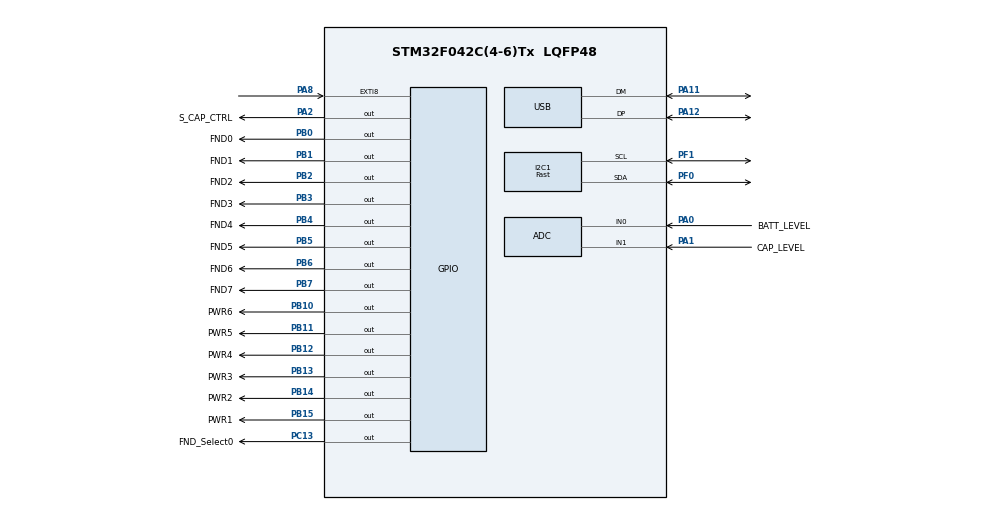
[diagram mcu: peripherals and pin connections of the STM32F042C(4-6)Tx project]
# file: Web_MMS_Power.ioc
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Dma.ADC.0.Direction=DMA_PERIPH_TO_MEMORY
Dma.ADC.0.Instance=DMA1_Channel1
Dma.ADC.0.MemDataAlignment=DMA_MDATAALIGN_HALFWORD
Dma.ADC.0.MemInc=DMA_MINC_ENABLE
Dma.ADC.0.Mode=DMA_CIRCULAR
Dma.ADC.0.PeriphDataAlignment=DMA_PDATAALIGN_HALFWORD
Dma.ADC.0.PeriphInc=DMA_PINC_DISABLE
Dma.ADC.0.Priority=DMA_PRIORITY_LOW
Dma.Request0=ADC
I2C1.I2C_Speed_Mode=I2C_Fast
I2C1.Timing=0x0000020B
Mcu.Family=STM32F0
Mcu.Name=STM32F042C(4-6)Tx
Mcu.Package=LQFP48
NVIC.ADC1_IRQn=true\:0\:0\:false\:false\:true\:true\:true
NVIC.DMA1_Channel1_IRQn=true\:0\:0\:false\:false\:true\:false\:true
NVIC.EXTI4_15_IRQn=true\:0\:0\:false\:false\:true\:true\:true
NVIC.I2C1_IRQn=true\:0\:0\:false\:false\:true\:true\:true
NVIC.TIM1_BRK_UP_TRG_COM_IRQn=true\:0\:0\:false\:false\:true\:true\:true
NVIC.USB_IRQn=true\:0\:0\:false\:false\:true\:true\:true
PA0.GPIO_Label=BATT_LEVEL
PA0.Mode=IN0
PA0.Signal=ADC_IN0
PA1.GPIO_Label=CAP_LEVEL
PA1.Mode=IN1
PA1.Signal=ADC_IN1
PA11.Mode=Device
PA11.Signal=USB_DM
PA12.Mode=Device
PA12.Signal=USB_DP
PA2.GPIO_Label=S_CAP_CTRL
PA2.Signal=GPIO_Output
PA8.GPIO_ModeDefaultEXTI=GPIO_MODE_IT_RISING_FALLING
PA8.Signal=GPXTI8
PB0.GPIO_Label=FND0
PB0.Signal=GPIO_Output
PB1.GPIO_Label=FND1
PB1.Signal=GPIO_Output
PB10.GPIO_Label=PWR6
PB10.GPIO_ModeDefaultOutputPP=GPIO_MODE_OUTPUT_OD
PB10.GPIO_PuPd=GPIO_PULLUP
PB10.GPIO_Speed=GPIO_SPEED_FREQ_LOW
PB10.PinState=GPIO_PIN_SET
PB10.Signal=GPIO_Output
PB11.GPIO_Label=PWR5
PB11.GPIO_ModeDefaultOutputPP=GPIO_MODE_OUTPUT_OD
PB11.GPIO_PuPd=GPIO_PULLUP
PB11.GPIO_Speed=GPIO_SPEED_FREQ_LOW
PB11.PinState=GPIO_PIN_SET
PB11.Signal=GPIO_Output
PB12.GPIO_Label=PWR4
PB12.GPIO_ModeDefaultOutputPP=GPIO_MODE_OUTPUT_OD
PB12.GPIO_PuPd=GPIO_PULLUP
PB12.GPIO_Speed=GPIO_SPEED_FREQ_LOW
PB12.PinState=GPIO_PIN_SET
PB12.Signal=GPIO_Output
PB13.GPIO_Label=PWR3
PB13.GPIO_ModeDefaultOutputPP=GPIO_MODE_OUTPUT_OD
PB13.GPIO_PuPd=GPIO_PULLUP
PB13.GPIO_Speed=GPIO_SPEED_FREQ_LOW
PB13.PinState=GPIO_PIN_SET
PB13.Signal=GPIO_Output
PB14.GPIO_Label=PWR2
PB14.GPIO_ModeDefaultOutputPP=GPIO_MODE_OUTPUT_OD
PB14.GPIO_PuPd=GPIO_PULLUP
PB14.GPIO_Speed=GPIO_SPEED_FREQ_LOW
PB14.PinState=GPIO_PIN_SET
PB14.Signal=GPIO_Output
PB15.GPIO_Label=PWR1
PB15.GPIO_ModeDefaultOutputPP=GPIO_MODE_OUTPUT_OD
PB15.GPIO_PuPd=GPIO_PULLUP
PB15.GPIO_Speed=GPIO_SPEED_FREQ_LOW
PB15.PinState=GPIO_PIN_SET
PB15.Signal=GPIO_Output
PB2.GPIO_Label=FND2
PB2.Signal=GPIO_Output
PB3.GPIO_Label=FND3
PB3.Signal=GPIO_Output
PB4.GPIO_Label=FND4
PB4.Signal=GPIO_Output
PB5.GPIO_Label=FND5
PB5.Signal=GPIO_Output
PB6.GPIO_Label=FND6
PB6.Signal=GPIO_Output
PB7.GPIO_Label=FND7
PB7.Signal=GPIO_Output
PC13.GPIO_Label=FND_Select0
PC13.Signal=GPIO_Output
PC14OSC32_IN.GPIO_Label=FND_Select1
PC14OSC32_IN.Signal=GPIO_Output
PC15OSC32_OUT.GPIO_Label=FND_Select2
PC15OSC32_OUT.Signal=GPIO_Output
PF0-OSC_IN.Mode=I2C
PF0-OSC_IN.Signal=I2C1_SDA
PF1-OSC_OUT.Mode=I2C
PF1-OSC_OUT.Signal=I2C1_SCL
ProjectManager.HeapSize=0x100
ProjectManager.StackSize=0x200
ProjectManager.TargetToolchain=STM32CubeIDE
RCC.AHBFreq_Value=48000000
RCC.APB1Freq_Value=48000000
RCC.APB1TimFreq_Value=48000000
RCC.HCLKFreq_Value=48000000
RCC.SYSCLKFreq_VALUE=48000000
RCC.SYSCLKSource=RCC_SYSCLKSOURCE_HSI48
TIM1.Period=600
TIM1.Prescaler=79
USB_DEVICE.APP_RX_DATA_SIZE=200
USB_DEVICE.APP_TX_DATA_SIZE=200
USB_DEVICE.CLASS_NAME_FS=CDC
USB_DEVICE.MANUFACTURER_STRING=Stryx.Inc
USB_DEVICE.PRODUCT_STRING_CDC_FS=WebMMS_Power
USB_DEVICE.USBD_SELF_POWERED=1
USB_DEVICE.VirtualMode=Cdc
USB_DEVICE.VirtualModeFS=Cdc_FS
VP_TIM1_VS_ClockSourceINT.Mode=Internal
VP_USB_DEVICE_VS_USB_DEVICE_CDC_FS.Mode=CDC_FS
board=custom

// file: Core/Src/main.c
/* USER CODE BEGIN Header */
/**
 ******************************************************************************
 * @file           : main.c
 * @brief          : Main program body
 ******************************************************************************
 * @attention
 *
 * <h2><center>&copy; Copyright (c) 2020 STMicroelectronics.
 * All rights reserved.</center></h2>
 *
 * This software component is licensed by ST under BSD 3-Clause license,
 * the "License"; You may not use this file except in compliance with the
 * License. You may obtain a copy of the License at:
 *                        opensource.org/licenses/BSD-3-Clause
 *
 ******************************************************************************
 */
/* USER CODE END Header */
#include "main.h"
#include "usb_device.h"

/* USER CODE BEGIN Includes */
#include <stdbool.h>
#include <string.h>
#include <stdlib.h>
#include <stdio.h>
#include "fonts.h"
#include "ssd1306.h"
/* USER CODE END Includes */

/* USER CODE BEGIN PD */
#define bMAX_VOLTAGE 14.9f
#define cMAX_VOLTAGE 9.9f
#define MAX_ADC_VAL 4096.0f
/* USER CODE END PD */

ADC_HandleTypeDef hadc;
DMA_HandleTypeDef hdma_adc;

I2C_HandleTypeDef hi2c1;

TIM_HandleTypeDef htim1;

/* USER CODE BEGIN PV */

extern USBD_HandleTypeDef hUsbDeviceFS;
extern PCD_HandleTypeDef hpcd_USB_FS;
const uint8_t SegmentArrInfo[] = { 0x3F,	//0
		0x06,	//1
		0x5B,	//2
		0x4F,	//3
		0x66,	//4
		0x6D,	//5
		0x7D,	//6
		0x07,	//7
		0x7F,	//8
		0x6F,	//9
		0x77,	//A
		0x7C,	//B
		0x39,	//C
		0x5E,	//D
		0x79,	//E
		0x71	//F
		};
uint8_t SegVar[3];
uint8_t PwrSFlag = 0;
bool q = 0, w = 0, e = 0, r = 0, t = 0, y = 0;
float _bresult;
float _cresult;
char bdata[20];
char cdata[20];
uint16_t adcValue[2];

uint8_t _Inited = 0;
uint8_t usbInitFlag = 0;

/* USER CODE END PV */

void SystemClock_Config(void);
static void MX_GPIO_Init(void);
static void MX_DMA_Init(void);
static void MX_ADC_Init(void);
static void MX_TIM1_Init(void);
static void MX_I2C1_Init(void);
/* USER CODE BEGIN PFP */

void HAL_TIM_PeriodElapsedCallback(TIM_HandleTypeDef *htim) {
	static uint16_t now = 13;
	if (htim->Instance == TIM1) {
		HAL_GPIO_WritePin(GPIOC, (1 << now), SET);
		now++;
		if (now >= 16) {
			now = 13;
		}
		HAL_GPIO_WritePin(GPIOB, 0x00FF, RESET);
		HAL_GPIO_WritePin(GPIOB, SegVar[now - 13], SET);
		HAL_GPIO_WritePin(GPIOC, (1 << now), RESET);
	}
}

void setSegVal(uint16_t val, uint8_t ptDigit) {
	SegVar[0] = SegmentArrInfo[val / 100]; // 100
	SegVar[1] = SegmentArrInfo[((val % 100)) / 10]; // 10
	SegVar[2] = SegmentArrInfo[val % 10]; // 1

	for (uint8_t i = 0; i < 3; i++) {
		if (ptDigit & (1 << i)) {
			SegVar[i] |= 0x80;
		}
	}
}

void ADC_PRINT(uint16_t i) {

	HAL_ADC_Start_DMA(&hadc, adcValue, 2); // ADC1 3????????
	for (int i = 0; i < 2; i++) { // ADC 3???? ??????????????? DMA??? ?????????
		HAL_DMA_PollForTransfer(&hdma_adc, HAL_DMA_FULL_TRANSFER, 1000); // ?????? ??? ????????????
	}
	HAL_ADC_Stop_DMA(&hadc); // ????? ???

	/*
	 //Read ADC Data 1 byte
	 LL_ADC_REG_StartConversion(ADC1);
	 while (!LL_ADC_IsActiveFlag_EOS(ADC1))
	 ;
	 i = LL_ADC_REG_ReadConversionData12(ADC1);
	 */

	/*
	 LL_DMA_SetDataLength(DMA1, LL_DMA_CHANNEL_1,12);
	 LL_DMA_SetPeriphAddress(DMA1,LL_DMA_CHANNEL_1,(uint32_t)(&ADC1->DR));
	 LL_DMA_SetMemoryAddress(DMA1,LL_DMA_CHANNEL_1,(uint32_t)adcValue[2]);
	 LL_DMA_EnableIT_TC(DMA1,LL_DMA_CHANNEL_1);
	 LL_DMA_EnableChannel(DMA1, LL_DMA_CHANNEL_1);

	 LL_ADC_REG_SetDMATransfer(ADC1, LL_ADC_REG_DMA_TRANSFER_UNLIMITED);
	 */

	_bresult = ((bMAX_VOLTAGE) / (MAX_ADC_VAL)) * ((float) adcValue[0]);
	_cresult = ((cMAX_VOLTAGE) / (MAX_ADC_VAL)) * ((float) adcValue[1]);
	if (_cresult >= 5.3) {
		HAL_GPIO_WritePin(S_CAP_CTRL_GPIO_Port, S_CAP_CTRL_Pin, SET);
	} else {
		HAL_GPIO_WritePin(S_CAP_CTRL_GPIO_Port, S_CAP_CTRL_Pin, RESET);
	}
	setSegVal((uint16_t) (_cresult * 100.0), 1 << 0);
	HAL_Delay(1);
	i++;
}
/* USER CODE END PFP */

int main(void)
{

  /* MCU Configuration--------------------------------------------------------*/

  /* Reset of all peripherals, Initializes the Flash interface and the Systick. */
  HAL_Init();

  /* Configure the system clock */
  SystemClock_Config();

  /* Initialize all configured peripherals */
  MX_GPIO_Init();
  MX_DMA_Init();
  MX_ADC_Init();
  MX_USB_DEVICE_Init();
  MX_TIM1_Init();
  MX_I2C1_Init();
  /* USER CODE BEGIN 2 */
	HAL_TIM_Base_Start_IT(&htim1);
	//LL_ADC_Enable(ADC1);
	_Inited = 1;
	ssd1306_Init();
	//HAL_Delay(1000);
	ssd1306_Fill(Black);
	ssd1306_UpdateScreen();
	//////////////////
	ssd1306_SetCursor(18, 0);
	ssd1306_WriteString("Stryx.INC", Font_11x18, White);
	ssd1306_SetCursor(0, 20);
	ssd1306_WriteString("batV:", Font_11x18, White);
	ssd1306_SetCursor(0, 40);
	ssd1306_WriteString("capV:", Font_11x18, White);
	ssd1306_UpdateScreen();
  /* USER CODE END 2 */

  /* Infinite loop */
  /* USER CODE BEGIN WHILE */
	uint16_t i = 0;
	while (1) {
    /* USER CODE END WHILE */

    /* USER CODE BEGIN 3 */
		ADC_PRINT(i);
		int btmp = _bresult * 100;
		int ctmp = _cresult * 100;
		sprintf(bdata, "%d.%d%d", btmp / 100, (btmp % 100) / 10, btmp % 10);
		sprintf(cdata, "%d.%d%d", ctmp / 100, (ctmp % 100) / 10, ctmp % 10);

		ssd1306_SetCursor(60, 20);
		ssd1306_WriteString(bdata, Font_11x18, White);
		ssd1306_SetCursor(60, 40);
		ssd1306_WriteString(cdata, Font_11x18, White);
		ssd1306_UpdateScreen();

		if (usbInitFlag == 1) {
			MX_USB_DEVICE_Init();
			usbInitFlag = 0;
		} else if (usbInitFlag == 2) {
			HAL_PCD_DevDisconnect(&hpcd_USB_FS);
			USBD_Stop(&hUsbDeviceFS);
			USBD_DeInit(&hUsbDeviceFS);
			usbInitFlag = 0;
		}
	}
  /* USER CODE END 3 */
}

void SystemClock_Config(void)
{
  LL_FLASH_SetLatency(LL_FLASH_LATENCY_1);
  while(LL_FLASH_GetLatency() != LL_FLASH_LATENCY_1)
  {
  }
  LL_RCC_HSI_Enable();

   /* Wait till HSI is ready */
  while(LL_RCC_HSI_IsReady() != 1)
  {

  }
  LL_RCC_HSI_SetCalibTrimming(16);
  LL_RCC_HSI14_Enable();

   /* Wait till HSI14 is ready */
  while(LL_RCC_HSI14_IsReady() != 1)
  {

  }
  LL_RCC_HSI14_SetCalibTrimming(16);
  LL_RCC_HSI48_Enable();

   /* Wait till HSI48 is ready */
  while(LL_RCC_HSI48_IsReady() != 1)
  {

  }
  LL_RCC_SetAHBPrescaler(LL_RCC_SYSCLK_DIV_1);
  LL_RCC_SetAPB1Prescaler(LL_RCC_APB1_DIV_1);
  LL_RCC_SetSysClkSource(LL_RCC_SYS_CLKSOURCE_HSI48);

   /* Wait till System clock is ready */
  while(LL_RCC_GetSysClkSource() != LL_RCC_SYS_CLKSOURCE_STATUS_HSI48)
  {

  }
  LL_SetSystemCoreClock(48000000);

   /* Update the time base */
  if (HAL_InitTick (TICK_INT_PRIORITY) != HAL_OK)
  {
    Error_Handler();
  }
  LL_RCC_HSI14_EnableADCControl();
  LL_RCC_SetI2CClockSource(LL_RCC_I2C1_CLKSOURCE_HSI);
  LL_RCC_SetUSBClockSource(LL_RCC_USB_CLKSOURCE_HSI48);
}

static void MX_ADC_Init(void)
{

  ADC_ChannelConfTypeDef sConfig = {0};

  /** Configure the global features of the ADC (Clock, Resolution, Data Alignment and number of conversion)
  */
  hadc.Instance = ADC1;
  hadc.Init.ClockPrescaler = ADC_CLOCK_ASYNC_DIV1;
  hadc.Init.Resolution = ADC_RESOLUTION_12B;
  hadc.Init.DataAlign = ADC_DATAALIGN_RIGHT;
  hadc.Init.ScanConvMode = ADC_SCAN_DIRECTION_FORWARD;
  hadc.Init.EOCSelection = ADC_EOC_SINGLE_CONV;
  hadc.Init.LowPowerAutoWait = DISABLE;
  hadc.Init.LowPowerAutoPowerOff = DISABLE;
  hadc.Init.ContinuousConvMode = DISABLE;
  hadc.Init.DiscontinuousConvMode = DISABLE;
  hadc.Init.ExternalTrigConv = ADC_SOFTWARE_START;
  hadc.Init.ExternalTrigConvEdge = ADC_EXTERNALTRIGCONVEDGE_NONE;
  hadc.Init.DMAContinuousRequests = DISABLE;
  hadc.Init.Overrun = ADC_OVR_DATA_PRESERVED;
  if (HAL_ADC_Init(&hadc) != HAL_OK)
  {
    Error_Handler();
  }
  /** Configure for the selected ADC regular channel to be converted.
  */
  sConfig.Channel = ADC_CHANNEL_0;
  sConfig.Rank = ADC_RANK_CHANNEL_NUMBER;
  sConfig.SamplingTime = ADC_SAMPLETIME_1CYCLE_5;
  if (HAL_ADC_ConfigChannel(&hadc, &sConfig) != HAL_OK)
  {
    Error_Handler();
  }
  /** Configure for the selected ADC regular channel to be converted.
  */
  sConfig.Channel = ADC_CHANNEL_1;
  if (HAL_ADC_ConfigChannel(&hadc, &sConfig) != HAL_OK)
  {
    Error_Handler();
  }

}

static void MX_I2C1_Init(void)
{

  hi2c1.Instance = I2C1;
  hi2c1.Init.Timing = 0x0000020B;
  hi2c1.Init.OwnAddress1 = 0;
  hi2c1.Init.AddressingMode = I2C_ADDRESSINGMODE_7BIT;
  hi2c1.Init.DualAddressMode = I2C_DUALADDRESS_DISABLE;
  hi2c1.Init.OwnAddress2 = 0;
  hi2c1.Init.OwnAddress2Masks = I2C_OA2_NOMASK;
  hi2c1.Init.GeneralCallMode = I2C_GENERALCALL_DISABLE;
  hi2c1.Init.NoStretchMode = I2C_NOSTRETCH_DISABLE;
  if (HAL_I2C_Init(&hi2c1) != HAL_OK)
  {
    Error_Handler();
  }
  /** Configure Analogue filter
  */
  if (HAL_I2CEx_ConfigAnalogFilter(&hi2c1, I2C_ANALOGFILTER_ENABLE) != HAL_OK)
  {
    Error_Handler();
  }
  /** Configure Digital filter
  */
  if (HAL_I2CEx_ConfigDigitalFilter(&hi2c1, 0) != HAL_OK)
  {
    Error_Handler();
  }

}

static void MX_TIM1_Init(void)
{

  TIM_ClockConfigTypeDef sClockSourceConfig = {0};
  TIM_MasterConfigTypeDef sMasterConfig = {0};

  htim1.Instance = TIM1;
  htim1.Init.Prescaler = 79;
  htim1.Init.CounterMode = TIM_COUNTERMODE_UP;
  htim1.Init.Period = 600;
  htim1.Init.ClockDivision = TIM_CLOCKDIVISION_DIV1;
  htim1.Init.RepetitionCounter = 0;
  htim1.Init.AutoReloadPreload = TIM_AUTORELOAD_PRELOAD_DISABLE;
  if (HAL_TIM_Base_Init(&htim1) != HAL_OK)
  {
    Error_Handler();
  }
  sClockSourceConfig.ClockSource = TIM_CLOCKSOURCE_INTERNAL;
  if (HAL_TIM_ConfigClockSource(&htim1, &sClockSourceConfig) != HAL_OK)
  {
    Error_Handler();
  }
  sMasterConfig.MasterOutputTrigger = TIM_TRGO_RESET;
  sMasterConfig.MasterSlaveMode = TIM_MASTERSLAVEMODE_DISABLE;
  if (HAL_TIMEx_MasterConfigSynchronization(&htim1, &sMasterConfig) != HAL_OK)
  {
    Error_Handler();
  }

}

static void MX_DMA_Init(void)
{

  /* DMA controller clock enable */
  __HAL_RCC_DMA1_CLK_ENABLE();

  /* DMA interrupt init */
  /* DMA1_Channel1_IRQn interrupt configuration */
  HAL_NVIC_SetPriority(DMA1_Channel1_IRQn, 0, 0);
  HAL_NVIC_EnableIRQ(DMA1_Channel1_IRQn);

}

static void MX_GPIO_Init(void)
{
  LL_EXTI_InitTypeDef EXTI_InitStruct = {0};
  LL_GPIO_InitTypeDef GPIO_InitStruct = {0};

  /* GPIO Ports Clock Enable */
  LL_AHB1_GRP1_EnableClock(LL_AHB1_GRP1_PERIPH_GPIOC);
  LL_AHB1_GRP1_EnableClock(LL_AHB1_GRP1_PERIPH_GPIOF);
  LL_AHB1_GRP1_EnableClock(LL_AHB1_GRP1_PERIPH_GPIOA);
  LL_AHB1_GRP1_EnableClock(LL_AHB1_GRP1_PERIPH_GPIOB);

  /**/
  LL_GPIO_ResetOutputPin(FND_Select0_GPIO_Port, FND_Select0_Pin);

  /**/
  LL_GPIO_ResetOutputPin(FND_Select1_GPIO_Port, FND_Select1_Pin);

  /**/
  LL_GPIO_ResetOutputPin(FND_Select2_GPIO_Port, FND_Select2_Pin);

  /**/
  LL_GPIO_ResetOutputPin(S_CAP_CTRL_GPIO_Port, S_CAP_CTRL_Pin);

  /**/
  LL_GPIO_ResetOutputPin(FND0_GPIO_Port, FND0_Pin);

  /**/
  LL_GPIO_ResetOutputPin(FND1_GPIO_Port, FND1_Pin);

  /**/
  LL_GPIO_ResetOutputPin(FND2_GPIO_Port, FND2_Pin);

  /**/
  LL_GPIO_ResetOutputPin(FND3_GPIO_Port, FND3_Pin);

  /**/
  LL_GPIO_ResetOutputPin(FND4_GPIO_Port, FND4_Pin);

  /**/
  LL_GPIO_ResetOutputPin(FND5_GPIO_Port, FND5_Pin);

  /**/
  LL_GPIO_ResetOutputPin(FND6_GPIO_Port, FND6_Pin);

  /**/
  LL_GPIO_ResetOutputPin(FND7_GPIO_Port, FND7_Pin);

  /**/
  LL_GPIO_SetOutputPin(PWR6_GPIO_Port, PWR6_Pin);

  /**/
  LL_GPIO_SetOutputPin(PWR5_GPIO_Port, PWR5_Pin);

  /**/
  LL_GPIO_SetOutputPin(PWR4_GPIO_Port, PWR4_Pin);

  /**/
  LL_GPIO_SetOutputPin(PWR3_GPIO_Port, PWR3_Pin);

  /**/
  LL_GPIO_SetOutputPin(PWR2_GPIO_Port, PWR2_Pin);

  /**/
  LL_GPIO_SetOutputPin(PWR1_GPIO_Port, PWR1_Pin);

  /**/
  GPIO_InitStruct.Pin = FND_Select0_Pin;
  GPIO_InitStruct.Mode = LL_GPIO_MODE_OUTPUT;
  GPIO_InitStruct.Speed = LL_GPIO_SPEED_FREQ_LOW;
  GPIO_InitStruct.OutputType = LL_GPIO_OUTPUT_PUSHPULL;
  GPIO_InitStruct.Pull = LL_GPIO_PULL_NO;
  LL_GPIO_Init(FND_Select0_GPIO_Port, &GPIO_InitStruct);

  /**/
  GPIO_InitStruct.Pin = FND_Select1_Pin;
  GPIO_InitStruct.Mode = LL_GPIO_MODE_OUTPUT;
  GPIO_InitStruct.Speed = LL_GPIO_SPEED_FREQ_LOW;
  GPIO_InitStruct.OutputType = LL_GPIO_OUTPUT_PUSHPULL;
  GPIO_InitStruct.Pull = LL_GPIO_PULL_NO;
  LL_GPIO_Init(FND_Select1_GPIO_Port, &GPIO_InitStruct);

  /**/
  GPIO_InitStruct.Pin = FND_Select2_Pin;
  GPIO_InitStruct.Mode = LL_GPIO_MODE_OUTPUT;
  GPIO_InitStruct.Speed = LL_GPIO_SPEED_FREQ_LOW;
  GPIO_InitStruct.OutputType = LL_GPIO_OUTPUT_PUSHPULL;
  GPIO_InitStruct.Pull = LL_GPIO_PULL_NO;
  LL_GPIO_Init(FND_Select2_GPIO_Port, &GPIO_InitStruct);

  /**/
  GPIO_InitStruct.Pin = S_CAP_CTRL_Pin;
  GPIO_InitStruct.Mode = LL_GPIO_MODE_OUTPUT;
  GPIO_InitStruct.Speed = LL_GPIO_SPEED_FREQ_LOW;
  GPIO_InitStruct.OutputType = LL_GPIO_OUTPUT_PUSHPULL;
  GPIO_InitStruct.Pull = LL_GPIO_PULL_NO;
  LL_GPIO_Init(S_CAP_CTRL_GPIO_Port, &GPIO_InitStruct);

  /**/
  GPIO_InitStruct.Pin = FND0_Pin;
  GPIO_InitStruct.Mode = LL_GPIO_MODE_OUTPUT;
  GPIO_InitStruct.Speed = LL_GPIO_SPEED_FREQ_LOW;
  GPIO_InitStruct.OutputType = LL_GPIO_OUTPUT_PUSHPULL;
  GPIO_InitStruct.Pull = LL_GPIO_PULL_NO;
  LL_GPIO_Init(FND0_GPIO_Port, &GPIO_InitStruct);

  /**/
  GPIO_InitStruct.Pin = FND1_Pin;
  GPIO_InitStruct.Mode = LL_GPIO_MODE_OUTPUT;
  GPIO_InitStruct.Speed = LL_GPIO_SPEED_FREQ_LOW;
  GPIO_InitStruct.OutputType = LL_GPIO_OUTPUT_PUSHPULL;
  GPIO_InitStruct.Pull = LL_GPIO_PULL_NO;
  LL_GPIO_Init(FND1_GPIO_Port, &GPIO_InitStruct);

  /**/
  GPIO_InitStruct.Pin = FND2_Pin;
  GPIO_InitStruct.Mode = LL_GPIO_MODE_OUTPUT;
  GPIO_InitStruct.Speed = LL_GPIO_SPEED_FREQ_LOW;
  GPIO_InitStruct.OutputType = LL_GPIO_OUTPUT_PUSHPULL;
  GPIO_InitStruct.Pull = LL_GPIO_PULL_NO;
  LL_GPIO_Init(FND2_GPIO_Port, &GPIO_InitStruct);

  /**/
  GPIO_InitStruct.Pin = PWR6_Pin;
  GPIO_InitStruct.Mode = LL_GPIO_MODE_OUTPUT;
  GPIO_InitStruct.Speed = LL_GPIO_SPEED_FREQ_LOW;
  GPIO_InitStruct.OutputType = LL_GPIO_OUTPUT_OPENDRAIN;
  GPIO_InitStruct.Pull = LL_GPIO_PULL_UP;
  LL_GPIO_Init(PWR6_GPIO_Port, &GPIO_InitStruct);

  /**/
  GPIO_InitStruct.Pin = PWR5_Pin;
  GPIO_InitStruct.Mode = LL_GPIO_MODE_OUTPUT;
  GPIO_InitStruct.Speed = LL_GPIO_SPEED_FREQ_LOW;
  GPIO_InitStruct.OutputType = LL_GPIO_OUTPUT_OPENDRAIN;
  GPIO_InitStruct.Pull = LL_GPIO_PULL_UP;
  LL_GPIO_Init(PWR5_GPIO_Port, &GPIO_InitStruct);

  /**/
  GPIO_InitStruct.Pin = PWR4_Pin;
  GPIO_InitStruct.Mode = LL_GPIO_MODE_OUTPUT;
  GPIO_InitStruct.Speed = LL_GPIO_SPEED_FREQ_LOW;
  GPIO_InitStruct.OutputType = LL_GPIO_OUTPUT_OPENDRAIN;
  GPIO_InitStruct.Pull = LL_GPIO_PULL_UP;
  LL_GPIO_Init(PWR4_GPIO_Port, &GPIO_InitStruct);

  /**/
  GPIO_InitStruct.Pin = PWR3_Pin;
  GPIO_InitStruct.Mode = LL_GPIO_MODE_OUTPUT;
  GPIO_InitStruct.Speed = LL_GPIO_SPEED_FREQ_LOW;
  GPIO_InitStruct.OutputType = LL_GPIO_OUTPUT_OPENDRAIN;
  GPIO_InitStruct.Pull = LL_GPIO_PULL_UP;
  LL_GPIO_Init(PWR3_GPIO_Port, &GPIO_InitStruct);

  /**/
  GPIO_InitStruct.Pin = PWR2_Pin;
  GPIO_InitStruct.Mode = LL_GPIO_MODE_OUTPUT;
  GPIO_InitStruct.Speed = LL_GPIO_SPEED_FREQ_LOW;
  GPIO_InitStruct.OutputType = LL_GPIO_OUTPUT_OPENDRAIN;
  GPIO_InitStruct.Pull = LL_GPIO_PULL_UP;
  LL_GPIO_Init(PWR2_GPIO_Port, &GPIO_InitStruct);

  /**/
  GPIO_InitStruct.Pin = PWR1_Pin;
  GPIO_InitStruct.Mode = LL_GPIO_MODE_OUTPUT;
  GPIO_InitStruct.Speed = LL_GPIO_SPEED_FREQ_LOW;
  GPIO_InitStruct.OutputType = LL_GPIO_OUTPUT_OPENDRAIN;
  GPIO_InitStruct.Pull = LL_GPIO_PULL_UP;
  LL_GPIO_Init(PWR1_GPIO_Port, &GPIO_InitStruct);

  /**/
  GPIO_InitStruct.Pin = FND3_Pin;
  GPIO_InitStruct.Mode = LL_GPIO_MODE_OUTPUT;
  GPIO_InitStruct.Speed = LL_GPIO_SPEED_FREQ_LOW;
  GPIO_InitStruct.OutputType = LL_GPIO_OUTPUT_PUSHPULL;
  GPIO_InitStruct.Pull = LL_GPIO_PULL_NO;
  LL_GPIO_Init(FND3_GPIO_Port, &GPIO_InitStruct);

  /**/
  GPIO_InitStruct.Pin = FND4_Pin;
  GPIO_InitStruct.Mode = LL_GPIO_MODE_OUTPUT;
  GPIO_InitStruct.Speed = LL_GPIO_SPEED_FREQ_LOW;
  GPIO_InitStruct.OutputType = LL_GPIO_OUTPUT_PUSHPULL;
  GPIO_InitStruct.Pull = LL_GPIO_PULL_NO;
  LL_GPIO_Init(FND4_GPIO_Port, &GPIO_InitStruct);

  /**/
  GPIO_InitStruct.Pin = FND5_Pin;
  GPIO_InitStruct.Mode = LL_GPIO_MODE_OUTPUT;
  GPIO_InitStruct.Speed = LL_GPIO_SPEED_FREQ_LOW;
  GPIO_InitStruct.OutputType = LL_GPIO_OUTPUT_PUSHPULL;
  GPIO_InitStruct.Pull = LL_GPIO_PULL_NO;
  LL_GPIO_Init(FND5_GPIO_Port, &GPIO_InitStruct);

  /**/
  GPIO_InitStruct.Pin = FND6_Pin;
  GPIO_InitStruct.Mode = LL_GPIO_MODE_OUTPUT;
  GPIO_InitStruct.Speed = LL_GPIO_SPEED_FREQ_LOW;
  GPIO_InitStruct.OutputType = LL_GPIO_OUTPUT_PUSHPULL;
  GPIO_InitStruct.Pull = LL_GPIO_PULL_NO;
  LL_GPIO_Init(FND6_GPIO_Port, &GPIO_InitStruct);

  /**/
  GPIO_InitStruct.Pin = FND7_Pin;
  GPIO_InitStruct.Mode = LL_GPIO_MODE_OUTPUT;
  GPIO_InitStruct.Speed = LL_GPIO_SPEED_FREQ_LOW;
  GPIO_InitStruct.OutputType = LL_GPIO_OUTPUT_PUSHPULL;
  GPIO_InitStruct.Pull = LL_GPIO_PULL_NO;
  LL_GPIO_Init(FND7_GPIO_Port, &GPIO_InitStruct);

  /**/
  LL_SYSCFG_SetEXTISource(LL_SYSCFG_EXTI_PORTA, LL_SYSCFG_EXTI_LINE8);

  /**/
  LL_GPIO_SetPinPull(GPIOA, LL_GPIO_PIN_8, LL_GPIO_PULL_NO);

  /**/
  LL_GPIO_SetPinMode(GPIOA, LL_GPIO_PIN_8, LL_GPIO_MODE_INPUT);

  /**/
  EXTI_InitStruct.Line_0_31 = LL_EXTI_LINE_8;
  EXTI_InitStruct.LineCommand = ENABLE;
  EXTI_InitStruct.Mode = LL_EXTI_MODE_IT;
  EXTI_InitStruct.Trigger = LL_EXTI_TRIGGER_RISING_FALLING;
  LL_EXTI_Init(&EXTI_InitStruct);

  /* EXTI interrupt init*/
  NVIC_SetPriority(EXTI4_15_IRQn, 0);
  NVIC_EnableIRQ(EXTI4_15_IRQn);

}

void Error_Handler(void)
{
}

/************************ (C) COPYRIGHT STMicroelectronics *****END OF FILE****/
